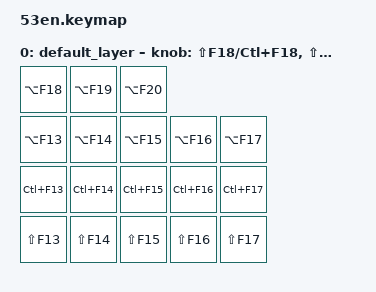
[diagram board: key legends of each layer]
#include <behaviors.dtsi>
#include <dt-bindings/zmk/keys.h>
#include <dt-bindings/zmk/bt.h>

/ {
    keymap {
        compatible = "zmk,keymap";

        default_layer { // Layer 0

            bindings = <
                &kp LA(F18)    &kp LA(F19)    &kp LA(F20)
                &kp LA(F13)    &kp LA(F14)    &kp LA(F15)    &kp LA(F16)    &kp LA(F17)
                &kp LC(F13)    &kp LC(F14)    &kp LC(F15)    &kp LC(F16)    &kp LC(F17)
                &kp LS(F13)   &kp LS(F14)    &kp LS(F15)    &kp LS(F16)    &kp LS(F17)
            >;
            sensor-bindings = <&inc_dec_kp LS(F18) LC(F18)    &inc_dec_kp LS(F19) LC(F19)    &inc_dec_kp LS(F20) LC(F20)>;

        };
    };
 };

